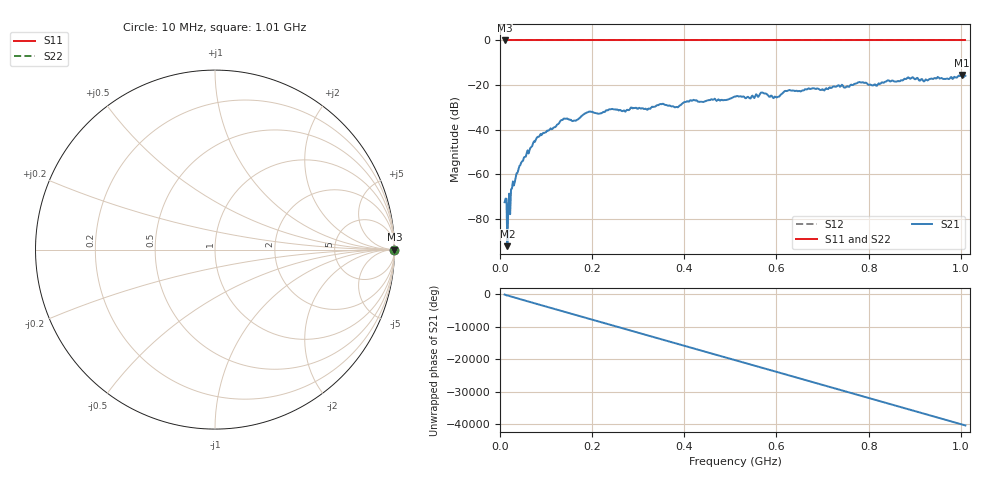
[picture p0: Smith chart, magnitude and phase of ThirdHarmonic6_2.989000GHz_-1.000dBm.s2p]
! 8/17/2025 8:30:54 AM
! C:\ANRITSUVNA\TEMP\TEMP.S2P
! CHANNEL.1
! TR.MEASUREMENT
! RAW.DATA
! RF.CORRECTION.OFF
! AVERAGING.OFF
! IF.BANDWIDTH: 5KHZ
! SWEEPTYPE:  FREQ.SWEEP(Linear)
! Reference Plane Port Info
! PORT:  PORT1  PORT2
! DISTANCE:  0  m  0  m
! TIME:  0  s  0  s
! PHASE.OFFSET:  0  deg.  0  deg.
! LOSS:  0  dB  0  dB
! REF.LOSS:  0  dB  0  dB
! REF.FREQ:  0  Hz  0  Hz
! Power Info
! POWER:  -20  dBm  -20  dBm
! EFF.POWER:  -20  dBm  -20  dBm
! SOURCE.ATTEN:  0  dB  0  dB
! TEST.ATTEN:  0  dB  0  dB
# GHZ S RI R 50.0
! FREQ.GHZ  S11RE  S11IM  S21RE  S21IM  S12RE  S12IM  S22RE  S22IM
!; PortSelection: Port_12
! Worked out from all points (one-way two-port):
!   501 points, 10 MHz to 1.01 GHz, reference 50 ohm
!   highest |S21| = -15.45 dB at 1.002 GHz (marker M1); lowest = -92.3 dB at 16 MHz (marker M2)
!   lowest |S11| = 0.0 dB at 10 MHz (marker M3)
!   |S11| at or under -10 dB: nowhere
!   |S22| runs from 0.0 to 0.0 dB; largest |S21 - S12| = 1.2
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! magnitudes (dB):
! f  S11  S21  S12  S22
! 10 MHz  0.0  -72.6  0.0  0.0
! 16 MHz  0.0  -92.3  0.0  0.0
! 20 MHz  0.0  -68.8  0.0  0.0
! 28 MHz  0.0  -63.3  0.0  0.0
! 44 MHz  0.0  -56.0  0.0  0.0
! 78 MHz  0.0  -44.3  0.0  0.0
! 136 MHz  0.0  -35.7  0.0  0.0
! 162 MHz  0.0  -36.0  0.0  0.0
! 178 MHz  0.0  -33.8  0.0  0.0
! 344 MHz  0.0  -29.0  0.0  0.0
! 384 MHz  0.0  -29.8  0.0  0.0
! 416 MHz  0.0  -27.1  0.0  0.0
! 510 MHz  0.0  -25.2  0.0  0.0
! 570 MHz  0.0  -23.4  0.0  0.0
! 598 MHz  0.0  -25.3  0.0  0.0
! 622 MHz  0.0  -22.7  0.0  0.0
! 678 MHz  0.0  -21.5  0.0  0.0
! 782 MHz  0.0  -18.8  0.0  0.0
! 814 MHz  0.0  -19.7  0.0  0.0
! 844 MHz  0.0  -18.0  0.0  0.0
! 1.002 GHz  0.0  -15.4  0.0  0.0
! 1.01 GHz  0.0  -15.9  0.0  0.0
